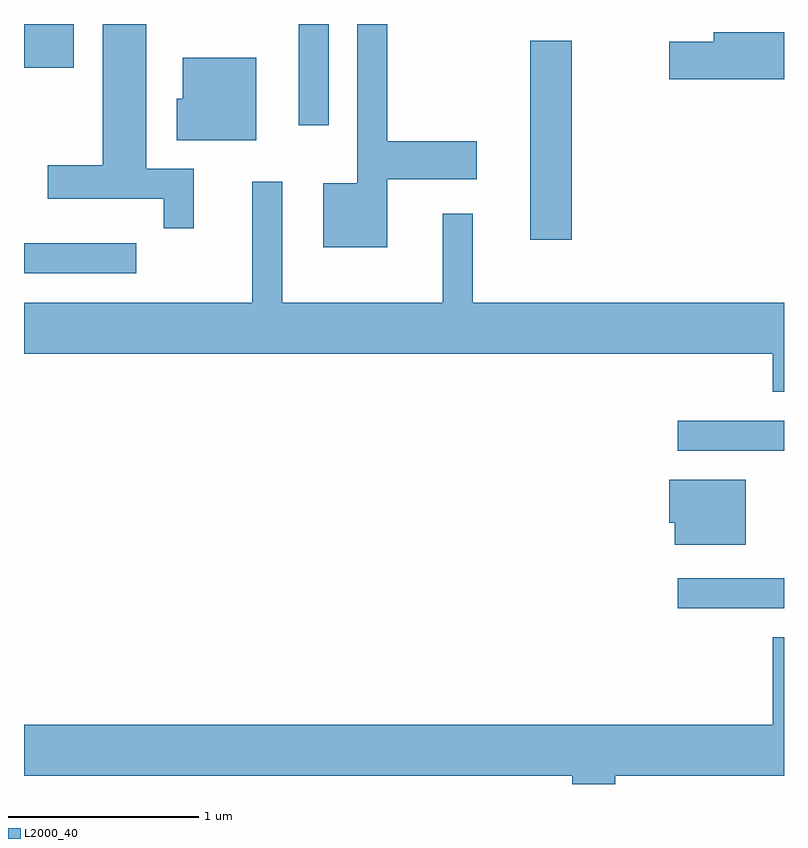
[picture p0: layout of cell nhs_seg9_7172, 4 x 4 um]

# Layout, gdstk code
import gdstk
lib = gdstk.Library(unit=1e-6, precision=1e-09)
def R(c, l, rs):  # rectangles x0, y0, x1, y1
    for r in rs: c.add(gdstk.rectangle(r[:2], r[2:], *l))
def P(c, l, *ps):  # polygons
    for p in ps: c.add(gdstk.Polygon(p, *l))
L2000_40 = (2000, 40)

nhs_seg9_7172 = lib.new_cell('nhs_seg9_7172')
R(nhs_seg9_7172, L2000_40, [(401.053,1999.356,401.611,1999.514), (401.053,2000.186,401.611,2000.344), (397.611,2001.121,398.203,2001.279), (400.276,2001.296,400.494,2002.344), (399.056,2001.898,399.214,2002.432), (397.611,2002.201,397.874,2002.432)])
P(nhs_seg9_7172, L2000_40, [(398.504,2001.669),(398.254,2001.669),(398.254,2002.432),(398.026,2002.432),(398.026,2001.689),(397.736,2001.689),(397.736,2001.511),(398.346,2001.511),(398.346,2001.358),(398.504,2001.358)],
  [(399.524,2001.616),(399.994,2001.616),(399.994,2001.814),(399.524,2001.814),(399.524,2002.432),(399.366,2002.432),(399.366,2001.594),(399.186,2001.594),(399.186,2001.256),(399.524,2001.256)],
  [(401.611,2002.389),(401.241,2002.389),(401.241,2002.339),(401.006,2002.339),(401.006,2002.141),(401.611,2002.141)],
  [(398.834,2002.254),(398.446,2002.254),(398.446,2002.039),(398.416,2002.039),(398.416,2001.821),(398.834,2001.821)],
  [(401.611,2000.964),(399.974,2000.964),(399.974,2001.433),(399.816,2001.433),(399.816,2000.964),(398.969,2000.964),(398.969,2001.603),(398.811,2001.603),(398.811,2000.964),(397.611,2000.964),(397.611,2000.696),(401.551,2000.696),(401.551,2000.496),(401.611,2000.496)],
  [(401.409,2000.034),(401.006,2000.034),(401.006,1999.806),(401.036,1999.806),(401.036,1999.691),(401.409,1999.691)],
  [(400.724,1998.476),(401.611,1998.476),(401.611,1999.204),(401.551,1999.204),(401.551,1998.744),(397.611,1998.744),(397.611,1998.476),(400.496,1998.476),(400.496,1998.432),(400.724,1998.432)])

lib.write_gds('nhs_seg9_7172.gds')
